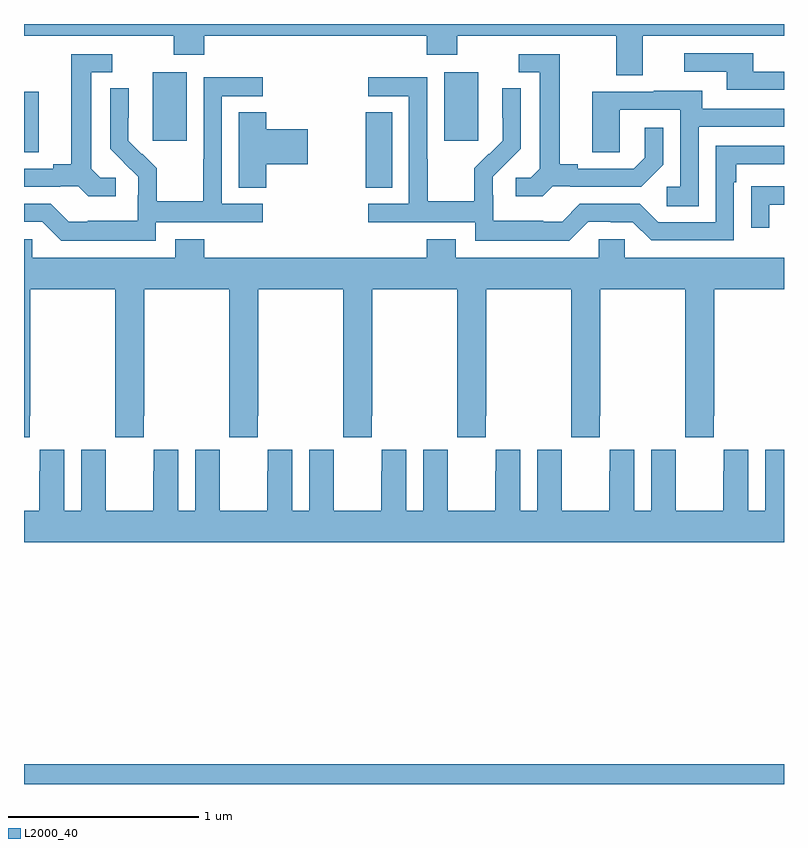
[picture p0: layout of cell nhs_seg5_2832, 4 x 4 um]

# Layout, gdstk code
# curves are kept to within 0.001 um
import gdstk
lib = gdstk.Library(unit=1e-6, precision=1e-09)
def R(c, l, rs):  # rectangles x0, y0, x1, y1
    for r in rs: c.add(gdstk.rectangle(r[:2], r[2:], *l))
def P(c, l, *ps):  # polygons
    for p in ps: c.add(gdstk.Polygon(p, *l))
L2000_40 = (2000, 40)

nhs_seg5_2832 = lib.new_cell('nhs_seg5_2832')
R(nhs_seg5_2832, L2000_40, [(275,876.799,279,876.904), (276.799,879.937,276.937,880.334), (275,880.123,275.077,880.443), (275.678,880.185,275.857,880.546), (277.211,880.185,277.39,880.546)])
P(nhs_seg5_2832, L2000_40, [(278.257,880.736),(279,880.736),(279,880.799),(275,880.799),(275,880.736),(275.788,880.736),(275.788,880.637),(275.948,880.637),(275.948,880.736),(277.121,880.736),(277.121,880.637),(277.281,880.637),(277.281,880.736),(278.117,880.736),(278.117,880.528),(278.257,880.528)],
  [(279,880.548),(278.839,880.548),(278.839,880.644),(278.475,880.644),(278.475,880.548),(278.699,880.548),(278.699,880.452),(279,880.452)],
  [(275.482,879.99),(275.4,879.99),(275.353,880.037),(275.353,880.545),(275.464,880.545),(275.464,880.641),(275.249,880.641),(275.249,880.061),(275.153,880.061),(275.153,880.038),(275,880.038),(275,879.942),(275.192,879.942),(275.192,879.945),(275.286,879.945),(275.338,879.893),(275.482,879.893)],
  [(277.782,879.945),(277.876,879.945),(277.876,879.942),(278.248,879.942),(278.364,880.058),(278.364,880.252),(278.267,880.252),(278.267,880.095),(278.21,880.038),(277.915,880.038),(277.915,880.061),(277.819,880.061),(277.819,880.641),(277.605,880.641),(277.605,880.545),(277.715,880.545),(277.715,880.037),(277.668,879.99),(277.587,879.99),(277.587,879.893),(277.73,879.893)],
  [(277.971,879.759),(278.087,879.759),(278.087,879.756),(278.205,879.756),(278.301,879.66),(278.736,879.66),(278.736,879.965),(278.749,879.965),(278.749,880.062),(279,880.062),(279,880.158),(278.64,880.158),(278.64,879.756),(278.337,879.756),(278.241,879.852),(277.926,879.852),(277.833,879.759),(277.733,879.759),(277.733,879.763),(277.47,879.763),(277.47,879.897),(277.468,879.897),(277.468,879.994),(277.614,880.142),(277.614,880.46),(277.518,880.46),(277.518,880.306),(277.52,880.306),(277.52,880.184),(277.449,880.113),(277.446,880.116),(277.369,880.039),(277.369,879.865),(277.125,879.865),(277.125,880.088),(277.122,880.088),(277.122,880.518),(276.813,880.518),(276.813,880.419),(277.026,880.419),(277.026,879.852),(276.813,879.852),(276.813,879.756),(277.374,879.756),(277.374,879.659),(277.871,879.659)],
  [(275.694,879.756),(276.256,879.756),(276.256,879.852),(276.042,879.852),(276.042,880.419),(276.256,880.419),(276.256,880.518),(275.946,880.518),(275.946,880.088),(275.944,880.088),(275.944,879.865),(275.699,879.865),(275.699,880.039),(275.622,880.116),(275.619,880.113),(275.549,880.184),(275.55,880.46),(275.454,880.46),(275.454,880.142),(275.6,879.994),(275.6,879.897),(275.598,879.897),(275.598,879.763),(275.335,879.763),(275.335,879.759),(275.235,879.759),(275.142,879.852),(275,879.852),(275,879.759),(275.097,879.759),(275.197,879.659),(275.694,879.659)],
  [(278.55,880.257),(279,880.257),(279,880.353),(278.569,880.353),(278.569,880.447),(278.315,880.447),(278.315,880.443),(277.991,880.443),(277.991,880.123),(278.136,880.123),(278.136,880.347),(278.454,880.347),(278.454,879.942),(278.382,879.942),(278.382,879.841),(278.55,879.841)],
  [(276.275,880.061),(276.493,880.061),(276.493,880.244),(276.275,880.244),(276.275,880.334),(276.131,880.334),(276.131,879.937),(276.275,879.937)],
  [(278.923,879.849),(279,879.849),(279,879.945),(278.929,879.945),(278.929,879.944),(278.827,879.944),(278.827,879.726),(278.923,879.726)],
  [(275.031,878.737),(275.034,878.737),(275.034,879.404),(275.479,879.404),(275.479,878.737),(275.481,878.737),(275.481,878.625),(275.631,878.625),(275.631,878.737),(275.634,878.737),(275.634,879.404),(276.079,879.404),(276.079,878.737),(276.081,878.737),(276.081,878.625),(276.231,878.625),(276.231,878.737),(276.234,878.737),(276.234,879.404),(276.679,879.404),(276.679,878.737),(276.681,878.737),(276.681,878.625),(276.831,878.625),(276.831,878.737),(276.834,878.737),(276.834,879.404),(277.279,879.404),(277.279,878.737),(277.281,878.737),(277.281,878.625),(277.431,878.625),(277.431,878.737),(277.434,878.737),(277.434,879.404),(277.879,879.404),(277.879,878.737),(277.881,878.737),(277.881,878.625),(278.031,878.625),(278.031,878.737),(278.034,878.737),(278.034,879.404),(278.479,879.404),(278.479,878.737),(278.481,878.737),(278.481,878.625),(278.631,878.625),(278.631,878.737),(278.634,878.737),(278.634,879.404),(279,879.404),(279,879.568),(278.163,879.568),(278.163,879.666),(278.025,879.666),(278.025,879.568),(277.273,879.568),(277.273,879.667),(277.121,879.667),(277.121,879.568),(275.948,879.568),(275.948,879.667),(275.795,879.667),(275.795,879.568),(275.043,879.568),(275.043,879.666),(275,879.666),(275,878.625),(275.031,878.625)],
  [(279,878.557),(278.9,878.557),(278.9,878.236),(278.812,878.236),(278.812,878.557),(278.682,878.557),(278.682,878.444),(278.681,878.444),(278.681,878.236),(278.431,878.236),(278.431,878.444),(278.43,878.444),(278.43,878.557),(278.3,878.557),(278.3,878.236),(278.212,878.236),(278.212,878.557),(278.082,878.557),(278.082,878.444),(278.081,878.444),(278.081,878.236),(277.831,878.236),(277.831,878.444),(277.83,878.444),(277.83,878.557),(277.7,878.557),(277.7,878.236),(277.612,878.236),(277.612,878.557),(277.482,878.557),(277.482,878.444),(277.481,878.444),(277.481,878.236),(277.231,878.236),(277.231,878.444),(277.23,878.444),(277.23,878.557),(277.1,878.557),(277.1,878.236),(277.012,878.236),(277.012,878.557),(276.882,878.557),(276.882,878.444),(276.881,878.444),(276.881,878.236),(276.631,878.236),(276.631,878.444),(276.63,878.444),(276.63,878.557),(276.5,878.557),(276.5,878.236),(276.412,878.236),(276.412,878.557),(276.282,878.557),(276.282,878.444),(276.281,878.444),(276.281,878.236),(276.031,878.236),(276.031,878.444),(276.03,878.444),(276.03,878.557),(275.9,878.557),(275.9,878.236),(275.812,878.236),(275.812,878.557),(275.682,878.557),(275.682,878.444),(275.681,878.444),(275.681,878.236),(275.431,878.236),(275.431,878.444),(275.43,878.444),(275.43,878.557),(275.3,878.557),(275.3,878.236),(275.212,878.236),(275.212,878.557),(275.082,878.557),(275.082,878.444),(275.081,878.444),(275.081,878.236),(275,878.236),(275,878.072),(279,878.072)])

lib.write_gds('nhs_seg5_2832.gds')
